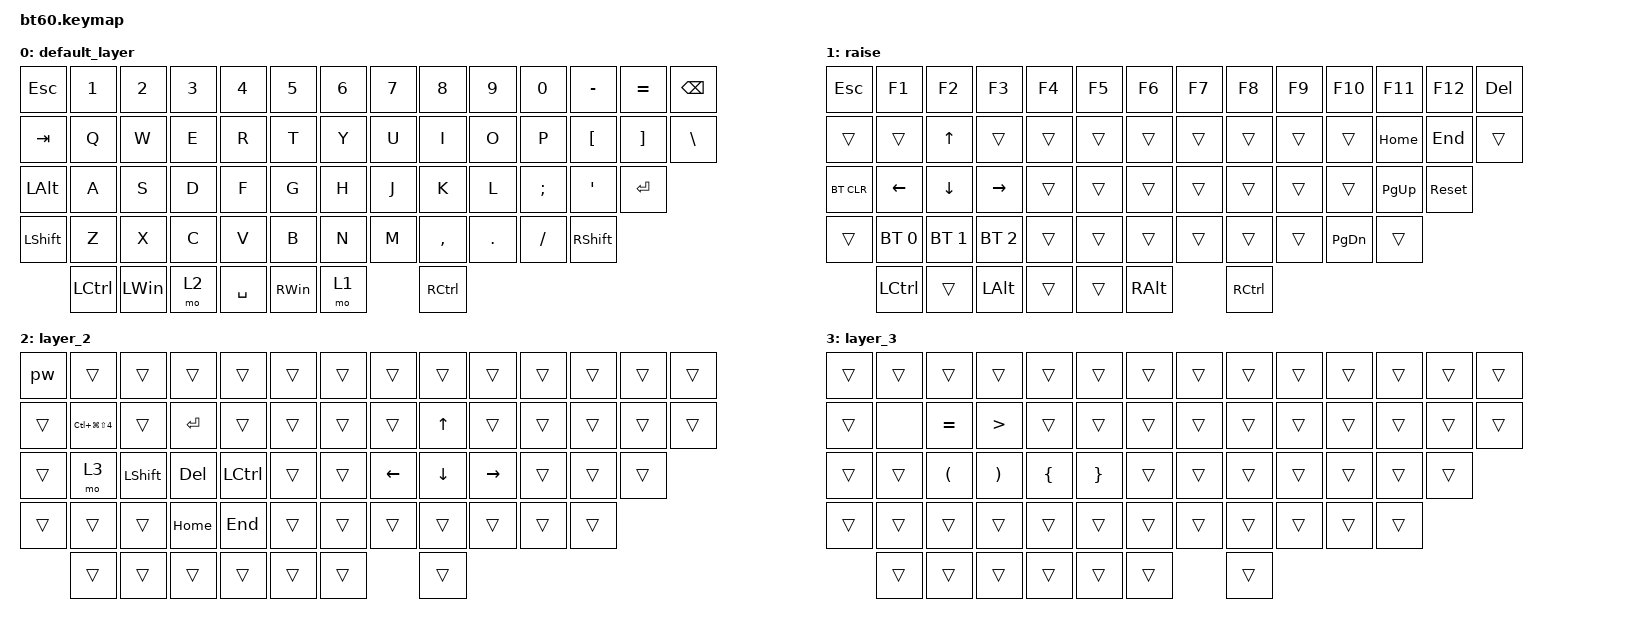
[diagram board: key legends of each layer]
#include <behaviors.dtsi>
#include <dt-bindings/zmk/bt.h>
#include <dt-bindings/zmk/keys.h>

/ {
    macros {
        pw: pw {
            compatible = "zmk,behavior-macro";
            #binding-cells = <0>;
            bindings = <&kp LS(I) &kp LS(W) &kp O &kp E &kp F &kp S &kp H &kp D &kp F &kp H &kp N3 &kp P &kp D &kp F &kp LS(P) &kp EXCL>;
            label = "PW";
            wait-ms = <10>;
            tap-ms = <30>;
        };
    };

    combos {
        compatible = "zmk,combos";

        macss {
            bindings = <&kp F13>;
            key-positions = <53 55 41 3>;
        };
    };

    keymap {
        compatible = "zmk,keymap";

        default_layer {
            // ------------------------------------------------------------------------------------------
            // |  `  |  1  |  2  |  3  |  4  |  5  |  6  |  7  |  8  |  9  |  0  |  -  |  =  |  BKSP |
            // | TAB  |  Q  |  W  |  E  |  R  |  T  |  Y  |  U  |  I  |  O  |  P  |  [  |  ]  |   |  |
            // | CAPS  |  A  |  S  |  D  |  F  |  G  |  H  |  J  |  K  |  L  |  ;  |  '  |     ENTER |
            // |  SHIFT    |  Z  |  X  |  C  |  V  |  B  |  N  |  M  |  ,  |  .  | /   |      SHIFT  |
            // |  CRTL  |  Fn1  |  ALT  |              SPACE              |  Fn1  |  ALT  |  CTRL |
            // ------------------------------------------------------------------------------------------
            // some change

            bindings = <
&kp ESCAPE    &kp N1     &kp N2        &kp N3  &kp N4     &kp N5         &kp N6  &kp N7  &kp N8     &kp N9   &kp N0    &kp MINUS  &kp EQUAL  &kp BSPC
&kp TAB       &kp Q      &kp W         &kp E   &kp R      &kp T          &kp Y   &kp U   &kp I      &kp O    &kp P     &kp LBKT   &kp RBKT   &kp BSLH
&kp LEFT_ALT  &kp A      &kp S         &kp D   &kp F      &kp G          &kp H   &kp J   &kp K      &kp L    &kp SEMI  &kp SQT    &kp RET
&kp LSHFT     &kp Z      &kp X         &kp C   &kp V      &kp B          &kp N   &kp M   &kp COMMA  &kp DOT  &kp FSLH  &kp RSHFT
              &kp LCTRL  &kp LEFT_WIN  &mo 2   &kp SPACE  &kp RIGHT_WIN  &mo 1           &kp RCTRL
            >;
        };

        raise {
            bindings = <
&kp ESC     &kp F1        &kp F2        &kp F3        &kp F4  &kp F5  &kp F6    &kp F7  &kp F8     &kp F9  &kp F10    &kp F11    &kp F12     &kp DEL
&trans      &trans        &kp UP        &trans        &trans  &trans  &trans    &trans  &trans     &trans  &trans     &kp HOME   &kp END     &trans
&bt BT_CLR  &kp LEFT      &kp DOWN      &kp RIGHT     &trans  &trans  &trans    &trans  &trans     &trans  &trans     &kp PG_UP  &sys_reset
&trans      &bt BT_SEL 0  &bt BT_SEL 1  &bt BT_SEL 2  &trans  &trans  &trans    &trans  &trans     &trans  &kp PG_DN  &trans
            &kp LCTRL     &trans        &kp LALT      &trans  &trans  &kp RALT          &kp RCTRL
            >;
        };

        layer_2 {
            bindings = <
&pw     &trans                    &trans     &trans     &trans     &trans  &trans  &trans    &trans    &trans     &trans  &trans  &trans  &trans
&trans  &kp LC(LG(LS(NUMBER_4)))  &trans     &kp ENTER  &trans     &trans  &trans  &trans    &kp UP    &trans     &trans  &trans  &trans  &trans
&trans  &mo 3                     &kp LSHFT  &kp DEL    &kp LCTRL  &trans  &trans  &kp LEFT  &kp DOWN  &kp RIGHT  &trans  &trans  &trans
&trans  &trans                    &trans     &kp HOME   &kp END    &trans  &trans  &trans    &trans    &trans     &trans  &trans
        &trans                    &trans     &trans     &trans     &trans  &trans            &trans
            >;
        };

        layer_3 {
            bindings = <
&trans  &trans  &trans                &trans                 &trans          &trans           &trans  &trans  &trans  &trans  &trans  &trans  &trans  &trans
&trans  &none   &kp EQUAL             &kp GREATER_THAN       &trans          &trans           &trans  &trans  &trans  &trans  &trans  &trans  &trans  &trans
&trans  &trans  &kp LEFT_PARENTHESIS  &kp RIGHT_PARENTHESIS  &kp LEFT_BRACE  &kp RIGHT_BRACE  &trans  &trans  &trans  &trans  &trans  &trans  &trans
&trans  &trans  &trans                &trans                 &trans          &trans           &trans  &trans  &trans  &trans  &trans  &trans
        &trans  &trans                &trans                 &trans          &trans           &trans          &trans
            >;
        };
    };
};
